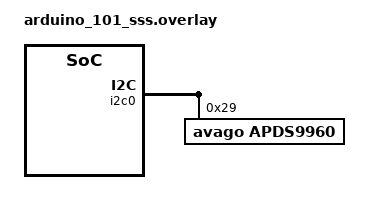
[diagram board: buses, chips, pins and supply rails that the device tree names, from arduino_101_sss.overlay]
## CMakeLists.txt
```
# SPDX-License-Identifier: Apache-2.0

cmake_minimum_required(VERSION 3.28.0)
find_package(Zephyr REQUIRED HINTS $ENV{ZEPHYR_BASE})
project(apds9960)

FILE(GLOB app_sources src/*.c)
target_sources(app PRIVATE ${app_sources})
```

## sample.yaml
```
sample:
  name: APDS9960 sample
tests:
  sample.sensor.apds9960:
    harness: console
    platform_allow:
      - adafruit_qt_py_rp2040/rp2040
      - reel_board
    integration_platforms:
      - reel_board
    tags: sensors
    extra_args:
      - platform:adafruit_qt_py_rp2040/rp2040:SHIELD="adafruit_apds9960"
    depends_on:
      - i2c
      - gpio
    harness_config:
      type: multi_line
      ordered: true
      regex:
        - "APDS9960 sample application"
        - "ambient light intensity (.*), proximity (.*)"
      fixture: fixture_i2c_apds9960
  sample.sensor.apds9960.trigger:
    harness: console
    platform_allow: reel_board
    integration_platforms:
      - reel_board
    tags: sensors
    depends_on:
      - i2c
      - gpio
    extra_configs:
      - CONFIG_APDS9960_TRIGGER_GLOBAL_THREAD=y
    harness_config:
      type: multi_line
      ordered: true
      regex:
        - "APDS9960 sample application"
        - "Waiting for a threshold event"
        - "ambient light intensity (.*), proximity (.*)"
      fixture: fixture_i2c_apds9960
```

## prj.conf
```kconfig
CONFIG_PRINTK=y
CONFIG_GPIO=y
CONFIG_I2C=y
CONFIG_SENSOR=y

CONFIG_LOG=y
CONFIG_SENSOR_LOG_LEVEL_INF=y
CONFIG_I2C_LOG_LEVEL_INF=y

CONFIG_APDS9960_TRIGGER_GLOBAL_THREAD=n
CONFIG_PM_DEVICE=n

CONFIG_APDS9960_ENABLE_GESTURE=n
```

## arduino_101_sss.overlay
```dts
/*
 *
 * Copyright (c) 2018, NXP
 *
 * SPDX-License-Identifier: Apache-2.0
 */

/ {
	aliases {
		apds9960-0 = &apds9960;
	};
};

&i2c0 {
	apds9960: apds9960@29 {
		compatible = "avago,apds9960";
		reg = <0x29>;
		label = "APDS9960";
	};
};
```

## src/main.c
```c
/*
 * Copyright (c) 2017 Intel Corporation
 * Copyright (c) 2018 Phytec Messtechnik GmbH
 *
 * SPDX-License-Identifier: Apache-2.0
 */

#include <zephyr/kernel.h>
#include <zephyr/drivers/sensor.h>
#include <zephyr/drivers/sensor/apds9960.h>
#include <zephyr/device.h>
#include <stdio.h>
#include <zephyr/sys/printk.h>

#ifdef CONFIG_APDS9960_TRIGGER
K_SEM_DEFINE(sem, 0, 1);

static void trigger_handler(const struct device *dev,
			    const struct sensor_trigger *trigger)
{
	ARG_UNUSED(dev);
	ARG_UNUSED(trigger);

	k_sem_give(&sem);
}
#endif

char states[5][6] = {
	"NONE",
	"UP",
	"DOWN",
	"LEFT",
	"RIGHT",
};

int main(void)
{
	const struct device *dev;
	struct sensor_value intensity, pdata, gesture;

	printk("APDS9960 sample application\n");
	dev = DEVICE_DT_GET_ONE(avago_apds9960);
	if (!device_is_ready(dev)) {
		printk("sensor: device not ready.\n");
		return 0;
	}

#ifdef CONFIG_APDS9960_TRIGGER
	struct sensor_value attr = {
		.val1 = 127,
		.val2 = 0,
	};

	if (sensor_attr_set(dev, SENSOR_CHAN_PROX,
			    SENSOR_ATTR_UPPER_THRESH, &attr)) {
		printk("Could not set threshold\n");
		return 0;
	}

	struct sensor_trigger trig = {
		.type = SENSOR_TRIG_THRESHOLD,
		.chan = SENSOR_CHAN_PROX,
	};

	if (sensor_trigger_set(dev, &trig, trigger_handler)) {
		printk("Could not set trigger\n");
		return 0;
	}
#endif

	while (true) {
#ifdef CONFIG_APDS9960_TRIGGER
		printk("Waiting for a threshold event\n");
		k_sem_take(&sem, K_FOREVER);
#else
		k_sleep(K_MSEC(5000));
#endif
		if (sensor_sample_fetch(dev)) {
			printk("sensor_sample fetch failed\n");
		}

		sensor_channel_get(dev, SENSOR_CHAN_LIGHT, &intensity);
		sensor_channel_get(dev, SENSOR_CHAN_PROX, &pdata);
		sensor_channel_get(dev, SENSOR_CHAN_APDS9960_GESTURE, &gesture);

		printk("ambient light intensity %d, proximity %d, gesture %s\n",
		       intensity.val1, pdata.val1, states[gesture.val1]);

#ifdef CONFIG_PM_DEVICE
		pm_device_action_run(dev, PM_DEVICE_ACTION_SUSPEND);
		printk("set low power state for 2s\n");
		k_sleep(K_MSEC(2000));
		pm_device_action_run(dev, PM_DEVICE_ACTION_RESUME);
#endif
	}
}
```
